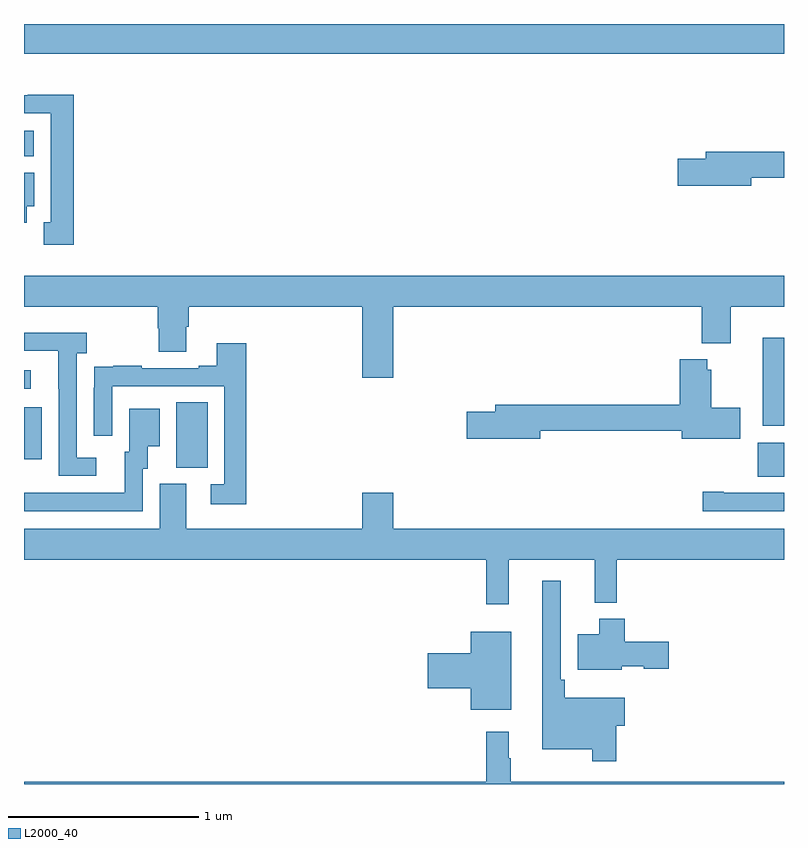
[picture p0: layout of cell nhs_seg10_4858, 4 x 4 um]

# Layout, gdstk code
import gdstk
lib = gdstk.Library(unit=1e-6, precision=1e-09)
def R(c, l, rs):  # rectangles x0, y0, x1, y1
    for r in rs: c.add(gdstk.rectangle(r[:2], r[2:], *l))
def P(c, l, *ps):  # polygons
    for p in ps: c.add(gdstk.Polygon(p, *l))
L2000_40 = (2000, 40)

nhs_seg10_4858 = lib.new_cell('nhs_seg10_4858')
R(nhs_seg10_4858, L2000_40, [(394.862,1270.117,395,1270.296), (391.802,1270.165,391.966,1270.508), (391,1270.209,391.093,1270.483), (394.889,1270.385,395,1270.849), (391,1270.581,391.036,1270.677), (391,1271.804,391.051,1271.938), (391,1272.344,395,1272.5)])
P(nhs_seg10_4858, L2000_40, [(391.261,1272.128),(391.02,1272.128),(391.02,1272.126),(391,1272.126),(391,1272.03),(391.142,1272.03),(391.142,1271.457),(391.103,1271.457),(391.103,1271.337),(391.261,1271.337)],
  [(394.828,1271.692),(395,1271.692),(395,1271.828),(394.589,1271.828),(394.589,1271.792),(394.44,1271.792),(394.44,1271.65),(394.828,1271.65)],
  [(391.015,1271.54),(391.054,1271.54),(391.054,1271.716),(391,1271.716),(391,1271.453),(391.015,1271.453)],
  [(392.944,1271.012),(394.568,1271.012),(394.568,1270.82),(394.72,1270.82),(394.72,1271.012),(395,1271.012),(395,1271.176),(391,1271.176),(391,1271.012),(391.703,1271.012),(391.703,1270.899),(391.708,1270.899),(391.708,1270.774),(391.855,1270.774),(391.855,1270.906),(391.868,1270.906),(391.868,1271.012),(392.78,1271.012),(392.78,1270.638),(392.944,1270.638)],
  [(391.381,1270.218),(391.278,1270.218),(391.278,1270.766),(391.33,1270.766),(391.33,1270.876),(391,1270.876),(391,1270.779),(391.181,1270.779),(391.181,1270.579),(391.182,1270.579),(391.182,1270.122),(391.381,1270.122)],
  [(392.171,1270.819),(392.015,1270.819),(392.015,1270.702),(391.919,1270.702),(391.919,1270.689),(391.619,1270.689),(391.619,1270.702),(391.471,1270.702),(391.471,1270.695),(391.369,1270.695),(391.369,1270.586),(391.368,1270.586),(391.368,1270.332),(391.464,1270.332),(391.464,1270.593),(392.055,1270.593),(392.055,1270.077),(391.983,1270.077),(391.983,1269.972),(392.171,1269.972)],
  [(394.771,1270.479),(394.618,1270.479),(394.618,1270.681),(394.596,1270.681),(394.596,1270.735),(394.451,1270.735),(394.451,1270.496),(393.479,1270.496),(393.479,1270.46),(393.33,1270.46),(393.33,1270.318),(393.718,1270.318),(393.718,1270.36),(394.463,1270.36),(394.463,1270.316),(394.771,1270.316)],
  [(391.626,1270.158),(391.651,1270.158),(391.651,1270.277),(391.714,1270.277),(391.714,1270.474),(391.553,1270.474),(391.553,1270.248),(391.529,1270.248),(391.529,1270.032),(391.045,1270.032),(391.045,1270.033),(391,1270.033),(391,1269.936),(391.626,1269.936)],
  [(393.551,1269.68),(394.004,1269.68),(394.004,1269.455),(394.121,1269.455),(394.121,1269.68),(395,1269.68),(395,1269.844),(392.944,1269.844),(392.944,1270.033),(392.78,1270.033),(392.78,1269.844),(391.855,1269.844),(391.855,1270.08),(391.715,1270.08),(391.715,1269.844),(391,1269.844),(391,1269.68),(393.433,1269.68),(393.433,1269.447),(393.551,1269.447)],
  [(395,1270.032),(394.684,1270.032),(394.684,1270.037),(394.572,1270.037),(394.572,1269.936),(395,1269.936)],
  [(394.118,1268.806),(394.162,1268.806),(394.162,1268.953),(393.845,1268.953),(393.845,1269.049),(393.825,1269.049),(393.825,1269.571),(393.728,1269.571),(393.728,1268.684),(393.99,1268.684),(393.99,1268.619),(394.118,1268.619)],
  [(394.146,1269.119),(394.263,1269.119),(394.263,1269.107),(394.393,1269.107),(394.393,1269.249),(394.163,1269.249),(394.163,1269.37),(394.028,1269.37),(394.028,1269.289),(393.914,1269.289),(393.914,1269.101),(394.146,1269.101)],
  [(393.565,1269.301),(393.35,1269.301),(393.35,1269.188),(393.126,1269.188),(393.126,1269.005),(393.35,1269.005),(393.35,1268.891),(393.565,1268.891)],
  [(391,1268.5),(395,1268.5),(395,1268.512),(393.562,1268.512),(393.562,1268.636),(393.55,1268.636),(393.55,1268.776),(393.433,1268.776),(393.433,1268.512),(391,1268.512)])

lib.write_gds('nhs_seg10_4858.gds')
